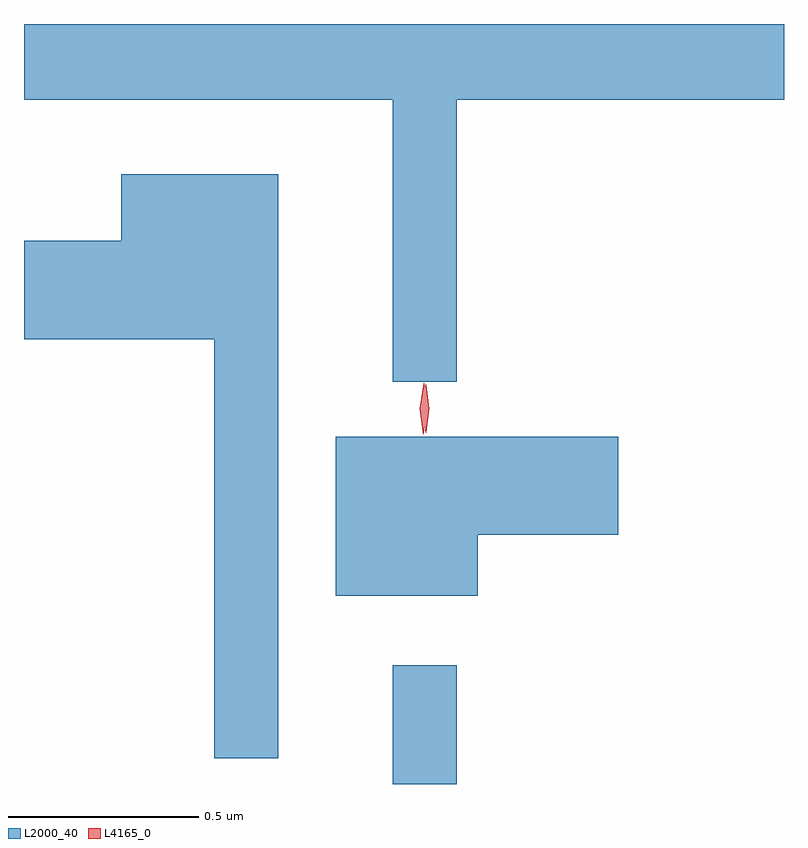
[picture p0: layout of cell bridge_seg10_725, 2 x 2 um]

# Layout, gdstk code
import gdstk
lib = gdstk.Library(unit=1e-6, precision=1e-09)
def R(c, l, rs):  # rectangles x0, y0, x1, y1
    for r in rs: c.add(gdstk.rectangle(r[:2], r[2:], *l))
def P(c, l, *ps):  # polygons
    for p in ps: c.add(gdstk.Polygon(p, *l))
L2000_40 = (2000, 40)
L4165_0 = (4165, 0)

bridge_seg10_725 = lib.new_cell('bridge_seg10_725')
R(bridge_seg10_725, L2000_40, [(887.561,2085.475,887.729,2085.788)])
P(bridge_seg10_725, L2000_40, [(887.729,2087.276),(888.59,2087.276),(888.59,2087.475),(886.59,2087.475),(886.59,2087.276),(887.561,2087.276),(887.561,2086.533),(887.729,2086.533)],
  [(887.259,2087.079),(886.846,2087.079),(886.846,2086.904),(886.59,2086.904),(886.59,2086.646),(887.091,2086.646),(887.091,2085.543),(887.259,2085.543)],
  [(887.784,2086.131),(888.154,2086.131),(888.154,2086.389),(887.411,2086.389),(887.411,2085.971),(887.784,2085.971)])
P(bridge_seg10_725, L4165_0, [(887.64,2086.394),(887.632,2086.462),(887.642,2086.53),(887.642,2086.53),(887.643,2086.53),(887.652,2086.462),(887.641,2086.394),(887.641,2086.394)],
  [(887.647,2086.4),(887.647,2086.4),(887.638,2086.463),(887.647,2086.526),(887.647,2086.527),(887.648,2086.526),(887.657,2086.463),(887.648,2086.4)])

lib.write_gds('bridge_seg10_725.gds')
